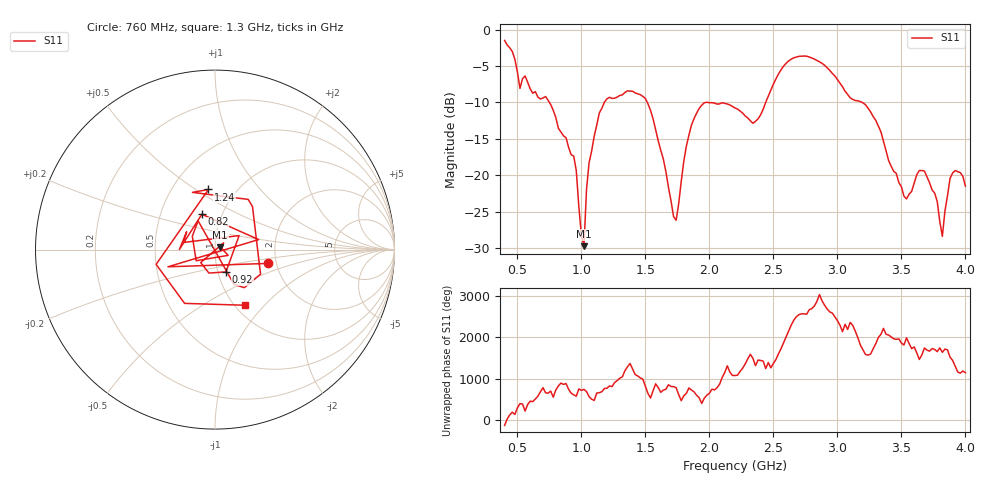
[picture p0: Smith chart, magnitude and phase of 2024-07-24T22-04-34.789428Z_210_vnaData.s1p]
!Created with skrf (http://scikit-rf.org).
# Hz S RI R 50.0
!freq ReS11 ImS11
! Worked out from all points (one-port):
!   181 points, 400 MHz to 4 GHz, reference 50 ohm
!   lowest |S11| = -29.7 dB at 1.02 GHz (marker M1), VSWR 1.07, Z = 52.9 + j1.62 ohm
!   |S11| at or under -10 dB: 1.515 GHz to 1.973 GHz (458.1 MHz wide, 26.3 % of centre); 1.988 GHz to 2.44 GHz (452.1 MHz wide, 20.4 % of centre); 3.193 GHz to end of sweep (the widest 3 of 4)
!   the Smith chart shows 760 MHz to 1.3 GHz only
!   S11 on the Smith chart (normalised r, x): 760 MHz: 1.81, -0.31; 820 MHz: 0.80, +0.33; 920 MHz: 1.09, -0.28; 1.24 GHz: 0.75, +0.56; 1.3 GHz: 1.11, -0.79
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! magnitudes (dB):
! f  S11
! 400 MHz  -1.5
! 520 MHz  -8.1
! 760 MHz  -10.3
! 820 MHz  -13.5
! 860 MHz  -14.6
! 920 MHz  -17.2
! 960 MHz  -19.4
! 1.02 GHz  -29.7
! 1.06 GHz  -18.3
! 1.14 GHz  -11.4
! 1.24 GHz  -9.5
! 1.3 GHz  -9.0
! 1.5 GHz  -9.5
! 1.72 GHz  -25.7
! 1.76 GHz  -23.9
! 1.82 GHz  -16.0
! 1.92 GHz  -10.8
! 2.2 GHz  -10.8
! 2.36 GHz  -12.6
! 2.66 GHz  -3.9
! 3.1 GHz  -9.4
! 3.26 GHz  -11.3
! 3.56 GHz  -22.6
! 3.68 GHz  -19.4
! 3.78 GHz  -23.6
! 3.82 GHz  -28.4
! 3.88 GHz  -20.5
! 4 GHz  -21.5
